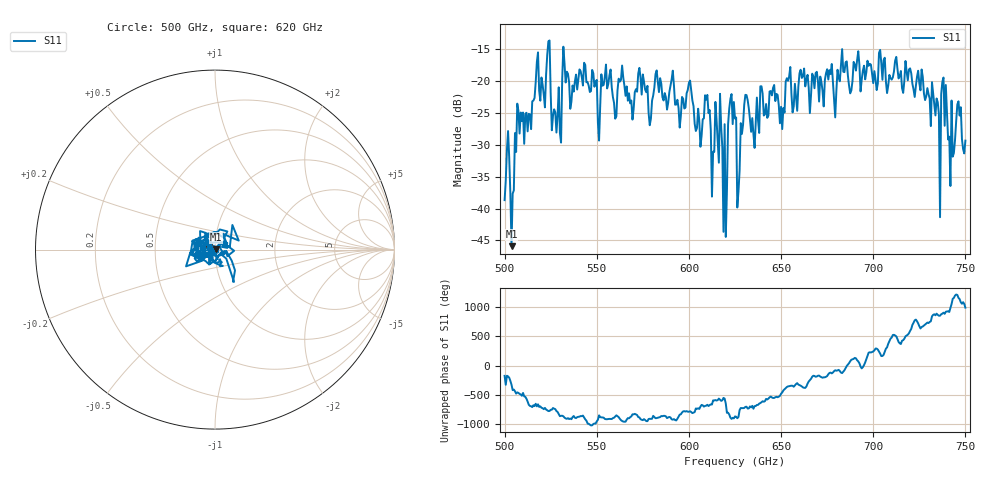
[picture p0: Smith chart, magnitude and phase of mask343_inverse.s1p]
!Created with skrf (http://scikit-rf.org).
# GHz S MA R 50.0
!freq magS11 angS11
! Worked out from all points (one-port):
!   401 points, 500 GHz to 750 GHz, reference 50 ohm
!   lowest |S11| = -45.9 dB at 503.8 GHz (marker M1), VSWR 1.01, Z = 50.4 + j0.271 ohm
!   |S11| at or under -10 dB: start of sweep to end of sweep
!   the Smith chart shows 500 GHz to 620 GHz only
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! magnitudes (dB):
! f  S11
! 500 GHz  -38.7
! 501.9 GHz  -27.8
! 503.8 GHz  -45.9
! 506.9 GHz  -23.5
! 516.9 GHz  -20.2
! 523.8 GHz  -13.8
! 526.9 GHz  -24.4
! 531.2 GHz  -19.6
! 560 GHz  -25.9
! 562.5 GHz  -20.1
! 593.8 GHz  -22.9
! 610 GHz  -22.2
! 612.5 GHz  -38.1
! 618.1 GHz  -30.4
! 619.4 GHz  -26.8
! 622.5 GHz  -22.8
! 625 GHz  -25.9
! 627.5 GHz  -34.1
! 631.2 GHz  -22.2
! 635 GHz  -28.3
! 656.2 GHz  -24.9
! 687.5 GHz  -21.9
! 718.8 GHz  -19.9
! 735 GHz  -23.3
! 738.1 GHz  -19.4
! 742.5 GHz  -23.0
! 746.2 GHz  -23.2
! 750 GHz  -29.3
